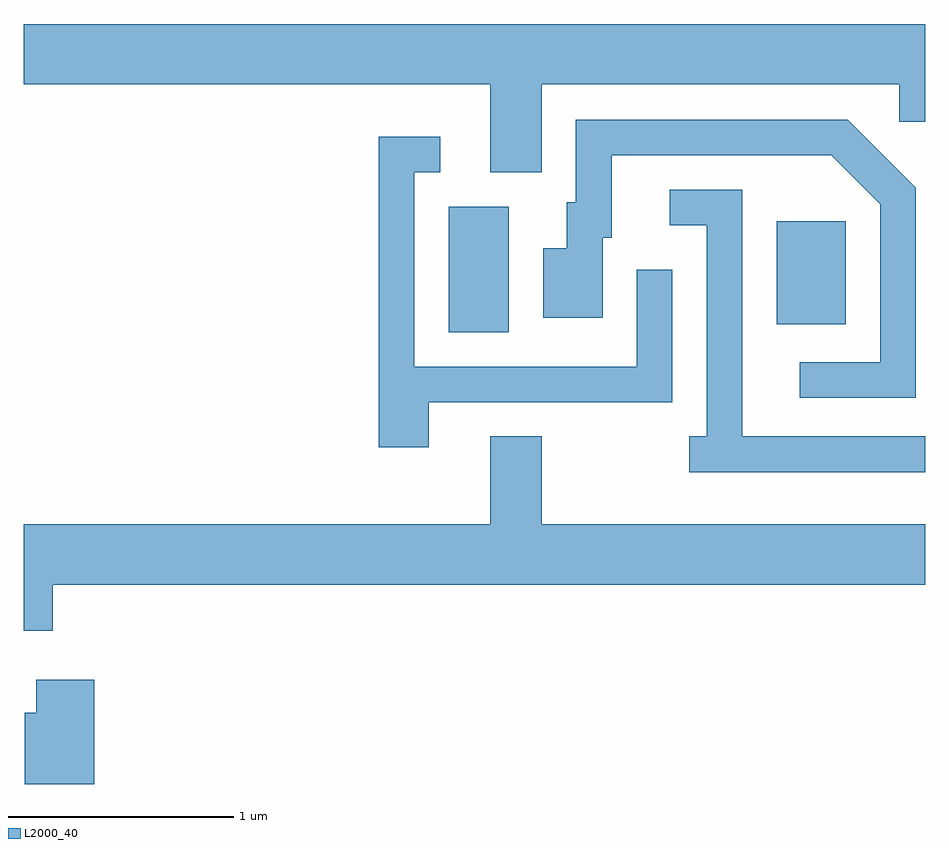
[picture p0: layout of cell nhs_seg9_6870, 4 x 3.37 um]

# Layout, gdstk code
import gdstk
lib = gdstk.Library(unit=1e-6, precision=1e-09)
def R(c, l, rs):  # rectangles x0, y0, x1, y1
    for r in rs: c.add(gdstk.rectangle(r[:2], r[2:], *l))
def P(c, l, *ps):  # polygons
    for p in ps: c.add(gdstk.Polygon(p, *l))
L2000_40 = (2000, 40)

nhs_seg9_6870 = lib.new_cell('nhs_seg9_6870')
R(nhs_seg9_6870, L2000_40, [(389.496,2048.436,389.764,2048.994), (390.951,2048.471,391.259,2048.929)])
P(nhs_seg9_6870, L2000_40, [(389.909,2049.536),(391.496,2049.536),(391.496,2049.371),(391.611,2049.371),(391.611,2049.804),(387.611,2049.804),(387.611,2049.536),(389.681,2049.536),(389.681,2049.146),(389.909,2049.146)],
  [(391.569,2049.077),(391.267,2049.379),(390.061,2049.379),(390.061,2049.014),(390.021,2049.014),(390.021,2048.809),(389.916,2048.809),(389.916,2048.501),(390.179,2048.501),(390.179,2048.856),(390.219,2048.856),(390.219,2049.221),(391.194,2049.221),(391.411,2049.004),(391.411,2048.304),(391.053,2048.304),(391.053,2048.146),(391.569,2048.146)],
  [(389.409,2048.126),(390.489,2048.126),(390.489,2048.713),(390.331,2048.713),(390.331,2048.284),(389.344,2048.284),(389.344,2049.146),(389.458,2049.146),(389.458,2049.304),(389.186,2049.304),(389.186,2047.926),(389.409,2047.926)],
  [(391.611,2047.974),(390.799,2047.974),(390.799,2049.069),(390.478,2049.069),(390.478,2048.911),(390.641,2048.911),(390.641,2047.974),(390.563,2047.974),(390.563,2047.816),(391.611,2047.816)],
  [(387.739,2047.316),(391.611,2047.316),(391.611,2047.584),(389.909,2047.584),(389.909,2047.974),(389.681,2047.974),(389.681,2047.584),(387.611,2047.584),(387.611,2047.111),(387.739,2047.111)],
  [(387.924,2046.894),(387.666,2046.894),(387.666,2046.749),(387.616,2046.749),(387.616,2046.432),(387.924,2046.432)])

lib.write_gds('nhs_seg9_6870.gds')
